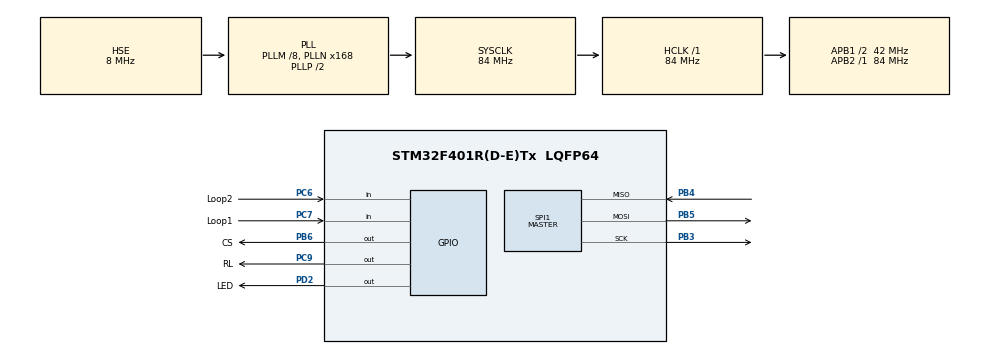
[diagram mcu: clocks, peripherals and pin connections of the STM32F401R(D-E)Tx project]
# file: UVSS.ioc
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FREERTOS.Tasks01=TCP_Client_task,24,128,StartDefaultTask,Default,NULL,Dynamic,NULL,NULL;Loop_scan,8,128,StartTask02,Default,NULL,Dynamic,NULL,NULL
FREERTOS.configUSE_NEWLIB_REENTRANT=1
Mcu.Family=STM32F4
Mcu.Name=STM32F401R(D-E)Tx
Mcu.Package=LQFP64
NVIC.PriorityGroup=NVIC_PRIORITYGROUP_4
NVIC.TIM1_UP_TIM10_IRQn=true\:15\:0\:false\:false\:true\:false\:false\:true\:true
NVIC.TimeBase=TIM1_UP_TIM10_IRQn
NVIC.TimeBaseIP=TIM10
PB3.Mode=Full_Duplex_Master
PB3.Signal=SPI1_SCK
PB4.Mode=Full_Duplex_Master
PB4.Signal=SPI1_MISO
PB5.Mode=Full_Duplex_Master
PB5.Signal=SPI1_MOSI
PB6.GPIO_Label=CS
PB6.Signal=GPIO_Output
PC6.GPIO_Label=Loop2
PC6.GPIO_PuPd=GPIO_PULLUP
PC6.Signal=GPIO_Input
PC7.GPIO_Label=Loop1
PC7.GPIO_PuPd=GPIO_PULLUP
PC7.Signal=GPIO_Input
PC9.GPIO_Label=RL
PC9.Signal=GPIO_Output
PD2.GPIO_Label=LED
PD2.Signal=GPIO_Output
PH0\ -\ OSC_IN.Mode=HSE-External-Oscillator
PH0\ -\ OSC_IN.Signal=RCC_OSC_IN
PH1\ -\ OSC_OUT.Mode=HSE-External-Oscillator
PH1\ -\ OSC_OUT.Signal=RCC_OSC_OUT
ProjectManager.HeapSize=0x200
ProjectManager.StackSize=0x400
ProjectManager.TargetToolchain=STM32CubeIDE
RCC.48MHZClocksFreq_Value=42000000
RCC.AHBFreq_Value=84000000
RCC.APB1CLKDivider=RCC_HCLK_DIV2
RCC.APB1Freq_Value=42000000
RCC.APB1TimFreq_Value=84000000
RCC.APB2Freq_Value=84000000
RCC.APB2TimFreq_Value=84000000
RCC.CortexFreq_Value=84000000
RCC.HCLKFreq_Value=84000000
RCC.HSE_VALUE=8000000
RCC.HSI_VALUE=16000000
RCC.LSE_VALUE=32768
RCC.PLLM=8
RCC.PLLN=168
RCC.PLLSourceVirtual=RCC_PLLSOURCE_HSE
RCC.SYSCLKFreq_VALUE=84000000
RCC.SYSCLKSource=RCC_SYSCLKSOURCE_PLLCLK
RCC.VCOOutputFreq_Value=168000000
SPI1.Direction=SPI_DIRECTION_2LINES
SPI1.Mode=SPI_MODE_MASTER
SPI1.VirtualType=VM_MASTER
TIM3.Period=62499
VP_FREERTOS_VS_CMSIS_V2.Mode=CMSIS_V2
VP_SYS_VS_tim10.Mode=TIM10
VP_TIM3_VS_ClockSourceINT.Mode=Internal
board=custom

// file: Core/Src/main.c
/* USER CODE BEGIN Header */
/**
  ******************************************************************************
  * @file           : main.c
  * @brief          : Main program body
  ******************************************************************************
  * @attention
  *
  * Copyright (c) 2025 STMicroelectronics.
  * All rights reserved.
  *
  * This software is licensed under terms that can be found in the LICENSE file
  * in the root directory of this software component.
  * If no LICENSE file comes with this software, it is provided AS-IS.
  *
  ******************************************************************************
  */
/* USER CODE END Header */
#include "main.h"
#include "cmsis_os.h"

/* USER CODE BEGIN Includes */
#include "socket.h"
#include "wizchip_conf.h"
#include "loopback.h"
#include "w5500.h"
#include <stdio.h>
#include <string.h>
#include "stm32f4xx_hal.h"
/* USER CODE END Includes */

SPI_HandleTypeDef hspi1;

TIM_HandleTypeDef htim3;

/* Definitions for TCP_Client_task */
osThreadId_t TCP_Client_taskHandle;
const osThreadAttr_t TCP_Client_task_attributes = {
  .name = "TCP_Client_task",
  .stack_size = 128 * 4,
  .priority = (osPriority_t) osPriorityNormal,
};
/* Definitions for Loop_scan */
osThreadId_t Loop_scanHandle;
const osThreadAttr_t Loop_scan_attributes = {
  .name = "Loop_scan",
  .stack_size = 128 * 4,
  .priority = (osPriority_t) osPriorityLow,
};
/* USER CODE BEGIN PV */
uint8_t socket_buf[100];     						// Buffer to receive data
uint8_t rcvBuf[20],bufSize[]={2,2,2,2};
int32_t len;										//Len of data recived
wiz_NetInfo getInfo ={ .mac={0},  					//Mac address
	  		  	  	   .ip ={0}, 					// IP address
	    			   .sn ={0},					//Subnet mask
	    			   .gw ={0}};					//Gateway address

uint8_t dest_ip[4] = {192, 168, 1, 28};
uint16_t dest_port = 5000;
#define SOCK_TCPC 0         							     // Socket 0
#define SRC_PORT 5000     								     // Listening port
int temp = 0;
#define RX_BUF_SIZE 1024
uint8_t rx_buf[RX_BUF_SIZE];
#define DEBOUNCE_DELAY   500// milliseconds
volatile uint8_t loop1_flag = 0;
volatile uint8_t loop2_flag = 0;

char json_body[256];
int content_length;
char http_post[512];

char relaystt=0;
/* USER CODE END PV */

void SystemClock_Config(void);
static void MX_GPIO_Init(void);
static void MX_SPI1_Init(void);
static void MX_TIM3_Init(void);
void StartDefaultTask(void *argument);
void StartTask02(void *argument);

/* USER CODE BEGIN 0 */
void cs_sel(){
	 HAL_GPIO_WritePin(CS_GPIO_Port, CS_Pin, GPIO_PIN_RESET);
}
void cs_desel(){
	HAL_GPIO_WritePin(CS_GPIO_Port, CS_Pin, GPIO_PIN_SET);
}
uint8_t spi_rb(void){
	uint8_t rbuf;
	HAL_SPI_Receive(&hspi1,&rbuf,1,0xFFFFFFFF);
	return rbuf;
}
void spi_wb(uint8_t b){
	HAL_SPI_Transmit(&hspi1,&b,1,0xFFFFFFFF);
}
void check_inputs(void)
{
    static uint32_t last_inc_time = 0;
    static uint32_t last_dec_time = 0;
    static uint8_t inc_flag = 0;
    static uint8_t dec_flag = 0;
    GPIO_PinState inc_pin = HAL_GPIO_ReadPin(GPIOC, Loop1_Pin);
    GPIO_PinState dec_pin = HAL_GPIO_ReadPin(GPIOC, Loop2_Pin);
    uint32_t now = HAL_GetTick();
    if (inc_pin == GPIO_PIN_RESET) // active low Loop
    {
        if (!inc_flag && (now - last_inc_time) > DEBOUNCE_DELAY)
        {
            inc_flag = 1; // mark as pressed
            last_inc_time = now;
            HAL_Delay(100);
            if(!loop1_flag)loop1_flag=1;
            HAL_GPIO_TogglePin(LED_GPIO_Port, LED_Pin);
            HAL_GPIO_WritePin(RL_GPIO_Port, RL_Pin, GPIO_PIN_RESET);
        }
    }
    else
    {
        // Loop released
        inc_flag = 0;
    }

    if (dec_pin == GPIO_PIN_RESET) // active low Loop
    {
        if (!dec_flag && (now - last_dec_time) > DEBOUNCE_DELAY)
        {
            dec_flag = 1; // mark as pressed
            last_dec_time = now;
            HAL_Delay(100);
           if(!loop2_flag) loop2_flag=1;
            HAL_GPIO_TogglePin(LED_GPIO_Port, LED_Pin);
            relaystt=1;
        }
    }
    else
    {
        // Loop released
        dec_flag = 0;
        if(relaystt)
        	{
        	relaystt=0;
        		HAL_GPIO_WritePin(RL_GPIO_Port, RL_Pin, GPIO_PIN_SET);
        	}
    }
}
void send_post_request(void)
{
	if(loop1_flag)
	{
	    int8_t sock = socket(SOCK_TCPC, Sn_MR_TCP, SRC_PORT, 0);
	    if (sock != SOCK_TCPC) {
	        printf("Socket open failed\n");
	    }
	    if (connect(SOCK_TCPC, dest_ip, dest_port) != SOCK_OK) {
	        printf("Socket connect failed\n");
	        close(SOCK_TCPC);
	    }
	    snprintf(json_body, sizeof(json_body),
	             "{\"data\":\"loop1engaged\"}");
	     content_length = strlen(json_body);
	    snprintf(http_post, sizeof(http_post),
	        "POST /sensor_data HTTP/1.1\r\n"
	        "Host: 192.168.1.28:5000\r\n"
	        "Content-Type: application/json\r\n"
	        "Content-Length: %d\r\n"
			"Connection: keep-alive\r\n"
	        "\r\n"
	        "%s",
	        content_length, json_body);
	    int sent = send(SOCK_TCPC, (uint8_t*)http_post, strlen(http_post));
	    if (sent <= 0) {
	        printf("Send failed\n");
	    } else {
	    	 HAL_GPIO_TogglePin(LED_GPIO_Port, LED_Pin);
	        printf("POST sent\n");
	    }
//	    uint8_t rx_buff[1024] = {0};
//	    int32_t recv_len = recv(SOCK_TCPC, rx_buff, sizeof(rx_buff));
//	    int32_t len = recv(SOCK_TCPC, rx_buf, RX_BUF_SIZE );  // Leave space for null terminator
	    close(SOCK_TCPC);
	    loop1_flag=0;
	}
	if(loop2_flag)
	{
		int8_t sock = socket(SOCK_TCPC, Sn_MR_TCP, SRC_PORT, 0);
		if (sock != SOCK_TCPC) {
			printf("Socket open failed\n");
		}
		if (connect(SOCK_TCPC, dest_ip, dest_port) != SOCK_OK) {
			printf("Socket connect failed\n");
			close(SOCK_TCPC);
		}
		    snprintf(json_body, sizeof(json_body),
		             "{\"data\":\"loop2engaged\"}");
		content_length = strlen(json_body);
		snprintf(http_post, sizeof(http_post),
			"POST /sensor_data HTTP/1.1\r\n"
			"Host: 192.168.1.28:5000\r\n"
			"Content-Type: application/json\r\n"
			"Content-Length: %d\r\n"
			"Connection: keep-alive\r\n"
			"\r\n"
			"%s",
			content_length, json_body);
		int sent = send(SOCK_TCPC, (uint8_t*)http_post, strlen(http_post));
		if (sent <= 0) {
			printf("Send failed\n");
		} else {
			 HAL_GPIO_TogglePin(LED_GPIO_Port, LED_Pin);
			printf("POST sent\n");
		}
//	 Optionally receive response
//		    uint8_t rx_buff[1024] = {0};
//		    int32_t recv_len = recv(SOCK_TCPC, rx_buff, sizeof(rx_buff));
//		    int32_t len = recv(SOCK_TCPC, rx_buf, RX_BUF_SIZE );  // Leave space for null terminator
		    close(SOCK_TCPC);
		    loop2_flag=0;
		}
}

/* USER CODE END 0 */

int main(void)
{

  /* MCU Configuration--------------------------------------------------------*/

  /* Reset of all peripherals, Initializes the Flash interface and the Systick. */
  HAL_Init();

  /* Configure the system clock */
  SystemClock_Config();

  /* Initialize all configured peripherals */
  MX_GPIO_Init();
  MX_SPI1_Init();
  MX_TIM3_Init();
  /* USER CODE BEGIN 2 */
  reg_wizchip_cs_cbfunc(cs_sel,cs_desel);
    reg_wizchip_spi_cbfunc(spi_rb,spi_wb);
    wizchip_init(bufSize,bufSize);
    wiz_NetInfo netInfo ={ .mac={0x00,0x08,0xdc,0xab,0xcd,0xef}, //Mac address
  		  	  	  	 	  .ip ={192,168,1,112}, 					// IP address
    						  .sn ={255,255,255,0},					//Subnet mask
    						  .gw ={192,168,1,1}};					//Gateway address
    HAL_Delay(500);
    wizchip_setnetinfo(&netInfo);
    HAL_Delay(500);
    wizchip_getnetinfo(&getInfo);
  /* USER CODE END 2 */

  /* Init scheduler */
  osKernelInitialize();

  /* Create the thread(s) */
  /* creation of TCP_Client_task */
  TCP_Client_taskHandle = osThreadNew(StartDefaultTask, NULL, &TCP_Client_task_attributes);

  /* creation of Loop_scan */
  Loop_scanHandle = osThreadNew(StartTask02, NULL, &Loop_scan_attributes);

  /* Start scheduler */
  osKernelStart();

  /* We should never get here as control is now taken by the scheduler */

  /* Infinite loop */
  while (1)
  {

  }
}

void SystemClock_Config(void)
{
  RCC_OscInitTypeDef RCC_OscInitStruct = {0};
  RCC_ClkInitTypeDef RCC_ClkInitStruct = {0};

  /** Configure the main internal regulator output voltage
  */
  __HAL_RCC_PWR_CLK_ENABLE();
  __HAL_PWR_VOLTAGESCALING_CONFIG(PWR_REGULATOR_VOLTAGE_SCALE2);

  /** Initializes the RCC Oscillators according to the specified parameters
  * in the RCC_OscInitTypeDef structure.
  */
  RCC_OscInitStruct.OscillatorType = RCC_OSCILLATORTYPE_HSE;
  RCC_OscInitStruct.HSEState = RCC_HSE_ON;
  RCC_OscInitStruct.PLL.PLLState = RCC_PLL_ON;
  RCC_OscInitStruct.PLL.PLLSource = RCC_PLLSOURCE_HSE;
  RCC_OscInitStruct.PLL.PLLM = 8;
  RCC_OscInitStruct.PLL.PLLN = 168;
  RCC_OscInitStruct.PLL.PLLP = RCC_PLLP_DIV2;
  RCC_OscInitStruct.PLL.PLLQ = 4;
  if (HAL_RCC_OscConfig(&RCC_OscInitStruct) != HAL_OK)
  {
    Error_Handler();
  }

  /** Initializes the CPU, AHB and APB buses clocks
  */
  RCC_ClkInitStruct.ClockType = RCC_CLOCKTYPE_HCLK|RCC_CLOCKTYPE_SYSCLK
                              |RCC_CLOCKTYPE_PCLK1|RCC_CLOCKTYPE_PCLK2;
  RCC_ClkInitStruct.SYSCLKSource = RCC_SYSCLKSOURCE_PLLCLK;
  RCC_ClkInitStruct.AHBCLKDivider = RCC_SYSCLK_DIV1;
  RCC_ClkInitStruct.APB1CLKDivider = RCC_HCLK_DIV2;
  RCC_ClkInitStruct.APB2CLKDivider = RCC_HCLK_DIV1;

  if (HAL_RCC_ClockConfig(&RCC_ClkInitStruct, FLASH_LATENCY_2) != HAL_OK)
  {
    Error_Handler();
  }
}

static void MX_SPI1_Init(void)
{

  /* SPI1 parameter configuration*/
  hspi1.Instance = SPI1;
  hspi1.Init.Mode = SPI_MODE_MASTER;
  hspi1.Init.Direction = SPI_DIRECTION_2LINES;
  hspi1.Init.DataSize = SPI_DATASIZE_8BIT;
  hspi1.Init.CLKPolarity = SPI_POLARITY_LOW;
  hspi1.Init.CLKPhase = SPI_PHASE_1EDGE;
  hspi1.Init.NSS = SPI_NSS_SOFT;
  hspi1.Init.BaudRatePrescaler = SPI_BAUDRATEPRESCALER_2;
  hspi1.Init.FirstBit = SPI_FIRSTBIT_MSB;
  hspi1.Init.TIMode = SPI_TIMODE_DISABLE;
  hspi1.Init.CRCCalculation = SPI_CRCCALCULATION_DISABLE;
  hspi1.Init.CRCPolynomial = 10;
  if (HAL_SPI_Init(&hspi1) != HAL_OK)
  {
    Error_Handler();
  }

}

static void MX_TIM3_Init(void)
{

  TIM_ClockConfigTypeDef sClockSourceConfig = {0};
  TIM_MasterConfigTypeDef sMasterConfig = {0};

  htim3.Instance = TIM3;
  htim3.Init.Prescaler = 0;
  htim3.Init.CounterMode = TIM_COUNTERMODE_UP;
  htim3.Init.Period = 62499;
  htim3.Init.ClockDivision = TIM_CLOCKDIVISION_DIV1;
  htim3.Init.AutoReloadPreload = TIM_AUTORELOAD_PRELOAD_DISABLE;
  if (HAL_TIM_Base_Init(&htim3) != HAL_OK)
  {
    Error_Handler();
  }
  sClockSourceConfig.ClockSource = TIM_CLOCKSOURCE_INTERNAL;
  if (HAL_TIM_ConfigClockSource(&htim3, &sClockSourceConfig) != HAL_OK)
  {
    Error_Handler();
  }
  sMasterConfig.MasterOutputTrigger = TIM_TRGO_RESET;
  sMasterConfig.MasterSlaveMode = TIM_MASTERSLAVEMODE_DISABLE;
  if (HAL_TIMEx_MasterConfigSynchronization(&htim3, &sMasterConfig) != HAL_OK)
  {
    Error_Handler();
  }

}

static void MX_GPIO_Init(void)
{
  GPIO_InitTypeDef GPIO_InitStruct = {0};

  /* GPIO Ports Clock Enable */
  __HAL_RCC_GPIOH_CLK_ENABLE();
  __HAL_RCC_GPIOC_CLK_ENABLE();
  __HAL_RCC_GPIOD_CLK_ENABLE();
  __HAL_RCC_GPIOB_CLK_ENABLE();

  /*Configure GPIO pin Output Level */
  HAL_GPIO_WritePin(RL_GPIO_Port, RL_Pin, GPIO_PIN_SET);

  /*Configure GPIO pin Output Level */
  HAL_GPIO_WritePin(LED_GPIO_Port, LED_Pin, GPIO_PIN_RESET);

  /*Configure GPIO pin Output Level */
  HAL_GPIO_WritePin(CS_GPIO_Port, CS_Pin, GPIO_PIN_RESET);

  /*Configure GPIO pins : Loop2_Pin Loop1_Pin */
  GPIO_InitStruct.Pin = Loop2_Pin|Loop1_Pin;
  GPIO_InitStruct.Mode = GPIO_MODE_INPUT;
  GPIO_InitStruct.Pull = GPIO_PULLUP;
  HAL_GPIO_Init(GPIOC, &GPIO_InitStruct);

  /*Configure GPIO pin : RL_Pin */
  GPIO_InitStruct.Pin = RL_Pin;
  GPIO_InitStruct.Mode = GPIO_MODE_OUTPUT_PP;
  GPIO_InitStruct.Pull = GPIO_NOPULL;
  GPIO_InitStruct.Speed = GPIO_SPEED_FREQ_LOW;
  HAL_GPIO_Init(RL_GPIO_Port, &GPIO_InitStruct);

  /*Configure GPIO pin : LED_Pin */
  GPIO_InitStruct.Pin = LED_Pin;
  GPIO_InitStruct.Mode = GPIO_MODE_OUTPUT_PP;
  GPIO_InitStruct.Pull = GPIO_NOPULL;
  GPIO_InitStruct.Speed = GPIO_SPEED_FREQ_LOW;
  HAL_GPIO_Init(LED_GPIO_Port, &GPIO_InitStruct);

  /*Configure GPIO pin : CS_Pin */
  GPIO_InitStruct.Pin = CS_Pin;
  GPIO_InitStruct.Mode = GPIO_MODE_OUTPUT_PP;
  GPIO_InitStruct.Pull = GPIO_NOPULL;
  GPIO_InitStruct.Speed = GPIO_SPEED_FREQ_LOW;
  HAL_GPIO_Init(CS_GPIO_Port, &GPIO_InitStruct);

}

void StartDefaultTask(void *argument)
{
  /* USER CODE BEGIN 5 */
  /* Infinite loop */
  for(;;)
  {
	 	  send_post_request();
    osDelay(1);
  }
  /* USER CODE END 5 */
}

void StartTask02(void *argument)
{
  /* USER CODE BEGIN StartTask02 */
  /* Infinite loop */
  for(;;)
  {
	  uint8_t phy = getPHYCFGR();
	 	 	  if ((phy & 0x01) == 0) {
	 	 	// Link is down
	 	 		HAL_GPIO_WritePin(LED_GPIO_Port, LED_Pin, GPIO_PIN_RESET);
	 	 	   close(SOCK_TCPC);
	 	 	   socket(SOCK_TCPC, Sn_MR_TCP, SRC_PORT, 0);
	 	 	   listen(SOCK_TCPC);
	 	 	  }
	 	 	  else
	 	 	  {HAL_GPIO_WritePin(LED_GPIO_Port, LED_Pin, GPIO_PIN_SET);}

	 	 	  check_inputs();
    osDelay(1);
  }
  /* USER CODE END StartTask02 */
}

void HAL_TIM_PeriodElapsedCallback(TIM_HandleTypeDef *htim)
{
  if (htim->Instance == TIM10)
  {
    HAL_IncTick();
  }
}

void Error_Handler(void)
{
  __disable_irq();
  while (1)
  {
  }
}
